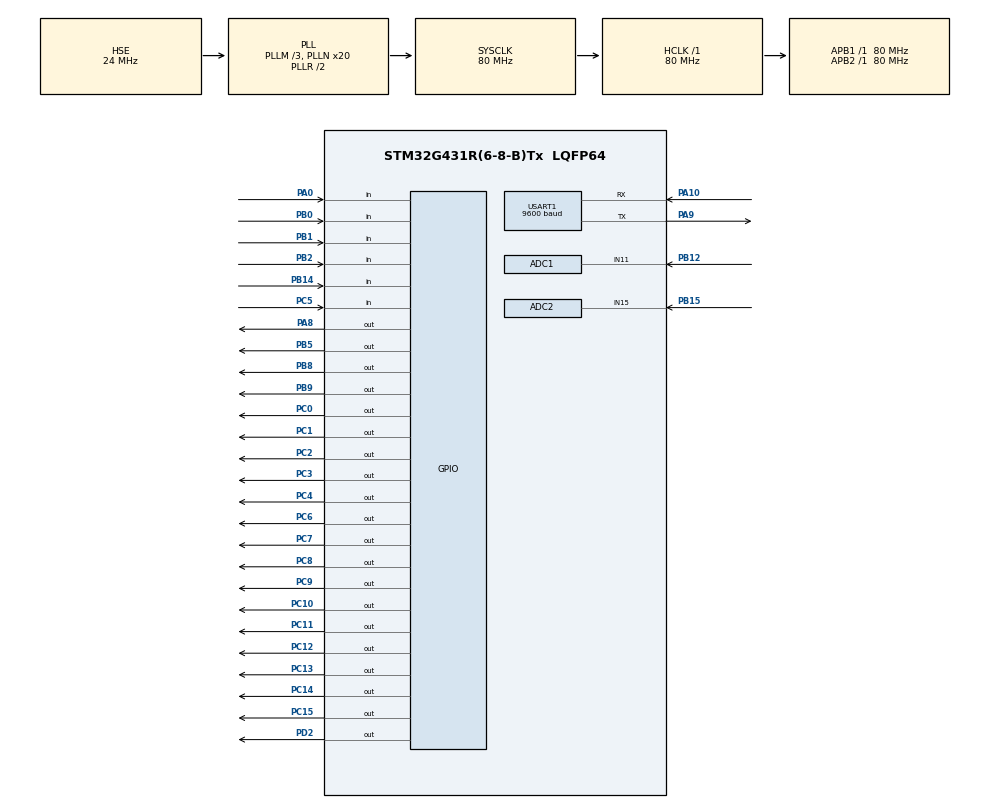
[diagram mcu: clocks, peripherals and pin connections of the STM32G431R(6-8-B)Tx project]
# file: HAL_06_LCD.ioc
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ADC1.Channel-0\#ChannelRegularConversion=ADC_CHANNEL_11
ADC1.ClockPrescaler=ADC_CLOCK_ASYNC_DIV2
ADC1.NbrOfConversionFlag=1
ADC1.OffsetNumber-0\#ChannelRegularConversion=ADC_OFFSET_NONE
ADC1.Rank-0\#ChannelRegularConversion=1
ADC1.SamplingTime-0\#ChannelRegularConversion=ADC_SAMPLETIME_640CYCLES_5
ADC1.master=1
ADC2.Channel-0\#ChannelRegularConversion=ADC_CHANNEL_15
ADC2.ClockPrescaler=ADC_CLOCK_ASYNC_DIV2
ADC2.NbrOfConversionFlag=1
ADC2.OffsetNumber-0\#ChannelRegularConversion=ADC_OFFSET_NONE
ADC2.Rank-0\#ChannelRegularConversion=1
ADC2.SamplingTime-0\#ChannelRegularConversion=ADC_SAMPLETIME_640CYCLES_5
Mcu.Family=STM32G4
Mcu.Name=STM32G431R(6-8-B)Tx
Mcu.Package=LQFP64
NVIC.ADC1_2_IRQn=true\:3\:0\:true\:false\:true\:true\:true
NVIC.PriorityGroup=NVIC_PRIORITYGROUP_4
NVIC.TIM6_DAC_IRQn=true\:2\:0\:true\:false\:true\:true\:true
NVIC.USART1_IRQn=true\:1\:0\:true\:false\:true\:true\:true
PA0.Signal=GPIO_Input
PA10.Mode=Asynchronous
PA10.Signal=USART1_RX
PA8.Signal=GPIO_Output
PA9.Mode=Asynchronous
PA9.Signal=USART1_TX
PB0.Signal=GPIO_Input
PB1.Signal=GPIO_Input
PB12.Mode=IN11-Single-Ended
PB12.Signal=ADC1_IN11
PB14.Signal=GPIO_Input
PB15.Mode=IN15-Single-Ended
PB15.Signal=ADC2_IN15
PB2.Signal=GPIO_Input
PB5.Signal=GPIO_Output
PB8-BOOT0.Signal=GPIO_Output
PB9.Signal=GPIO_Output
PC0.Signal=GPIO_Output
PC1.Signal=GPIO_Output
PC10.PinState=GPIO_PIN_SET
PC10.Signal=GPIO_Output
PC11.PinState=GPIO_PIN_SET
PC11.Signal=GPIO_Output
PC12.PinState=GPIO_PIN_SET
PC12.Signal=GPIO_Output
PC13.PinState=GPIO_PIN_SET
PC13.Signal=GPIO_Output
PC14-OSC32_IN.PinState=GPIO_PIN_SET
PC14-OSC32_IN.Signal=GPIO_Output
PC15-OSC32_OUT.PinState=GPIO_PIN_SET
PC15-OSC32_OUT.Signal=GPIO_Output
PC2.Signal=GPIO_Output
PC3.Signal=GPIO_Output
PC4.Signal=GPIO_Output
PC5.Signal=GPIO_Input
PC6.Signal=GPIO_Output
PC7.Signal=GPIO_Output
PC8.PinState=GPIO_PIN_SET
PC8.Signal=GPIO_Output
PC9.PinState=GPIO_PIN_SET
PC9.Signal=GPIO_Output
PD2.Signal=GPIO_Output
PF0-OSC_IN.Mode=HSE-External-Oscillator
PF0-OSC_IN.Signal=RCC_OSC_IN
PF1-OSC_OUT.Mode=HSE-External-Oscillator
PF1-OSC_OUT.Signal=RCC_OSC_OUT
ProjectManager.HeapSize=0x200
ProjectManager.StackSize=0x400
ProjectManager.TargetToolchain=MDK-ARM V5.27
RCC.ADC12Freq_Value=80000000
RCC.AHBFreq_Value=80000000
RCC.APB1Freq_Value=80000000
RCC.APB1TimFreq_Value=80000000
RCC.APB2Freq_Value=80000000
RCC.APB2TimFreq_Value=80000000
RCC.CortexFreq_Value=80000000
RCC.EXTERNAL_CLOCK_VALUE=12288000
RCC.HCLKFreq_Value=80000000
RCC.HSE_VALUE=24000000
RCC.HSI48_VALUE=48000000
RCC.HSI_VALUE=16000000
RCC.LSE_VALUE=32768
RCC.PLLM=RCC_PLLM_DIV3
RCC.PLLN=20
RCC.PLLSourceVirtual=RCC_PLLSOURCE_HSE
RCC.SYSCLKFreq_VALUE=80000000
RCC.SYSCLKSource=RCC_SYSCLKSOURCE_PLLCLK
RCC.USBFreq_Value=80000000
RCC.VCOOutputFreq_Value=160000000
TIM6.PeriodNoDither=9999
TIM6.Prescaler=7999
USART1.BaudRate=9600
USART1.VirtualMode-Asynchronous=VM_ASYNC
VP_SYS_VS_DBSignals.Mode=DisableDeadBatterySignals
VP_TIM6_VS_ClockSourceINT.Mode=Enable_Timer
board=custom

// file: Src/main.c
/* USER CODE BEGIN Header */
/**
  ******************************************************************************
  * @file           : main.c
  * @brief          : Main program body
  ******************************************************************************
  * @attention
  *
  * <h2><center>&copy; Copyright (c) 2021 STMicroelectronics.
  * All rights reserved.</center></h2>
  *
  * This software component is licensed by ST under BSD 3-Clause license,
  * the "License"; You may not use this file except in compliance with the
  * License. You may obtain a copy of the License at:
  *                        opensource.org/licenses/BSD-3-Clause
  *
  ******************************************************************************
  */
/* USER CODE END Header */

#include "main.h"
#include "adc.h"
#include "tim.h"
#include "usart.h"
#include "gpio.h"

/* USER CODE BEGIN Includes */
#include "i2c_hal.h"
//变量创建区
__IO uint32_t uwTick_Key_Set_Point = 0;//控制Key_Proc的执行速度
__IO uint32_t uwTick_Lcd_Set_Point = 0;//控制Lcd_Proc的执行速度
__IO uint32_t uwTick_Usart_Set_Point = 0;//控制Usart_Proc的执行速度
unsigned char i;

//*按键扫描专用变量
unsigned char ucKey_Val, unKey_Down, ucKey_Up, ucKey_Old;

//*LCD显示专用变量
unsigned char Lcd_Disp_String[21];//最多显示20个字符

//*串口专用变量
int counter = 0;
char str[40];
unsigned char rx_buffer;

//*EEPROM的相关变量
unsigned char EEPROM_String_1[5] = {0,2,4,6,8};
unsigned char EEPROM_String_2[5] = {0};

//*4017相关变量
uint8_t RES_4017;

//子函数声明区

/* USER CODE END Includes */

void SystemClock_Config(void);
/* USER CODE BEGIN PFP */
void Key_Proc(void);
void Lcd_Proc(void);
void Usart_Proc(void);
/* USER CODE END PFP */

int main(void)
{

  /* MCU Configuration--------------------------------------------------------*/

  /* Reset of all peripherals, Initializes the Flash interface and the Systick. */
  HAL_Init();

  /* Configure the system clock */
  SystemClock_Config();

  /* Initialize all configured peripherals */
  MX_GPIO_Init();
  MX_ADC1_Init();
  MX_USART1_UART_Init();
  MX_ADC2_Init();
  MX_TIM6_Init();
  /* USER CODE BEGIN 2 */

	LCD_Init();
	I2CInit();
  /* USER CODE END 2 */

  /* Infinite loop */
  /* USER CODE BEGIN WHILE */

	LCD_Clear(Blue);
	LCD_SetBackColor(Blue);
	LCD_SetTextColor(White);

	//**EEPROM测试
	iic_24c02_write(EEPROM_String_1, 0, 5);
	HAL_Delay(1);
	iic_24c02_read(EEPROM_String_2, 0, 5);

  //**MCP4017测试
	write_resistor(0x77);
	RES_4017 = read_resistor();
	HAL_TIM_Base_Start_IT(&htim6);
//	HAL_ADC_Start_IT(&hadc1);
	HAL_UART_Receive_IT(&huart1, &rx_buffer, 1);

  while (1)
  {
    /* USER CODE END WHILE */

    /* USER CODE BEGIN 3 */
		Key_Proc();
		Lcd_Proc();
		Usart_Proc();
  }
  /* USER CODE END 3 */
}

void SystemClock_Config(void)
{
  RCC_OscInitTypeDef RCC_OscInitStruct = {0};
  RCC_ClkInitTypeDef RCC_ClkInitStruct = {0};
  RCC_PeriphCLKInitTypeDef PeriphClkInit = {0};

  /** Configure the main internal regulator output voltage
  */
  HAL_PWREx_ControlVoltageScaling(PWR_REGULATOR_VOLTAGE_SCALE1);
  /** Initializes the CPU, AHB and APB busses clocks
  */
  RCC_OscInitStruct.OscillatorType = RCC_OSCILLATORTYPE_HSE;
  RCC_OscInitStruct.HSEState = RCC_HSE_ON;
  RCC_OscInitStruct.PLL.PLLState = RCC_PLL_ON;
  RCC_OscInitStruct.PLL.PLLSource = RCC_PLLSOURCE_HSE;
  RCC_OscInitStruct.PLL.PLLM = RCC_PLLM_DIV3;
  RCC_OscInitStruct.PLL.PLLN = 20;
  RCC_OscInitStruct.PLL.PLLP = RCC_PLLP_DIV2;
  RCC_OscInitStruct.PLL.PLLQ = RCC_PLLQ_DIV2;
  RCC_OscInitStruct.PLL.PLLR = RCC_PLLR_DIV2;
  if (HAL_RCC_OscConfig(&RCC_OscInitStruct) != HAL_OK)
  {
    Error_Handler();
  }
  /** Initializes the CPU, AHB and APB busses clocks
  */
  RCC_ClkInitStruct.ClockType = RCC_CLOCKTYPE_HCLK|RCC_CLOCKTYPE_SYSCLK
                              |RCC_CLOCKTYPE_PCLK1|RCC_CLOCKTYPE_PCLK2;
  RCC_ClkInitStruct.SYSCLKSource = RCC_SYSCLKSOURCE_PLLCLK;
  RCC_ClkInitStruct.AHBCLKDivider = RCC_SYSCLK_DIV1;
  RCC_ClkInitStruct.APB1CLKDivider = RCC_HCLK_DIV1;
  RCC_ClkInitStruct.APB2CLKDivider = RCC_HCLK_DIV1;

  if (HAL_RCC_ClockConfig(&RCC_ClkInitStruct, FLASH_LATENCY_3) != HAL_OK)
  {
    Error_Handler();
  }
  /** Initializes the peripherals clocks
  */
  PeriphClkInit.PeriphClockSelection = RCC_PERIPHCLK_USART1|RCC_PERIPHCLK_ADC12;
  PeriphClkInit.Usart1ClockSelection = RCC_USART1CLKSOURCE_PCLK2;
  PeriphClkInit.Adc12ClockSelection = RCC_ADC12CLKSOURCE_SYSCLK;
  if (HAL_RCCEx_PeriphCLKConfig(&PeriphClkInit) != HAL_OK)
  {
    Error_Handler();
  }
}

/* USER CODE BEGIN 4 */
void Key_Proc(void)
{
	if((uwTick -  uwTick_Key_Set_Point)<100)	return;//减速函数
	uwTick_Key_Set_Point = uwTick;

	ucKey_Val = Key_Scan();
	unKey_Down = ucKey_Val & (ucKey_Old ^ ucKey_Val);
	ucKey_Up = ~ucKey_Val & (ucKey_Old ^ ucKey_Val);
	ucKey_Old = ucKey_Val;

	switch(unKey_Down)
	{
		case 4:
			LED_Disp(0x88);
		break;
		case 3:
			LED_Disp(0x00);
		break;
	}
	if(((((float)getADC2())/4096)*3.3)<3.0)
	{
		LED_Disp(0x77);
	}
	else
		LED_Disp(0x00);
}

void Lcd_Proc(void)
{
	if((uwTick -  uwTick_Lcd_Set_Point)<300)	return;//减速函数
	uwTick_Lcd_Set_Point = uwTick;
//	i++;

	sprintf((int8_t *)Lcd_Disp_String, "   i num: %03d        ",(unsigned int)i);
	LCD_DisplayStringLine(Line1, Lcd_Disp_String);
	sprintf((char *)Lcd_Disp_String, "EE:%x%x%x%x%x R:%x",EEPROM_String_2[0],EEPROM_String_2[1],EEPROM_String_2[2],EEPROM_String_2[3],EEPROM_String_2[4], RES_4017);
	LCD_DisplayStringLine(Line2, Lcd_Disp_String);
	sprintf((char *)Lcd_Disp_String, "RES_K:%5.2fK",0.7874*RES_4017);
	LCD_DisplayStringLine(Line3, Lcd_Disp_String);
	sprintf((char *)Lcd_Disp_String, "VOLTAGE:%6.3fV",3.3*((0.7874*RES_4017)/(0.7874*RES_4017+10)));
	LCD_DisplayStringLine(Line4, Lcd_Disp_String);

	sprintf((char *)Lcd_Disp_String, "R38_Vol:%6.3fV",((((float)getADC1())/4096)*3.3));
	LCD_DisplayStringLine(Line6, Lcd_Disp_String);

	sprintf((char *)Lcd_Disp_String, "R37_Vol:%6.3fV",((((float)getADC2())/4096)*3.3));
	LCD_DisplayStringLine(Line7, Lcd_Disp_String);

}

void Usart_Proc(void)
{
	if((uwTick -  uwTick_Usart_Set_Point)<500)	return;//减速函数
	uwTick_Usart_Set_Point = uwTick;

	sprintf(str, "%04d:Hello,world.\r\n", counter);
	HAL_UART_Transmit(&huart1,(unsigned char *)str, strlen(str), 50);

	if(++counter == 10000)
		counter = 0;
}

void HAL_UART_RxCpltCallback(UART_HandleTypeDef *huart)
{
	LED_Disp(0xff);
	HAL_Delay(300);
	LED_Disp(0x00);

	HAL_UART_Receive_IT(&huart1, &rx_buffer, 1);

}

void HAL_TIM_PeriodElapsedCallback(TIM_HandleTypeDef *htim)
{
	i++;
	HAL_TIM_Base_Start_IT(&htim6);
}

//void HAL_ADC_ConvCpltCallback(ADC_HandleTypeDef *hadc)
//{
//	if(((((float)getADC2())/4096)*3.3)<3.0)
//	{
//		LED_Disp(0x77);
//	}
//	else
//		LED_Disp(0x00);
//	HAL_ADC_Start_IT(&hadc1);
//
//}

/* USER CODE END 4 */

void Error_Handler(void)
{
}

/************************ (C) COPYRIGHT STMicroelectronics *****END OF FILE****/
